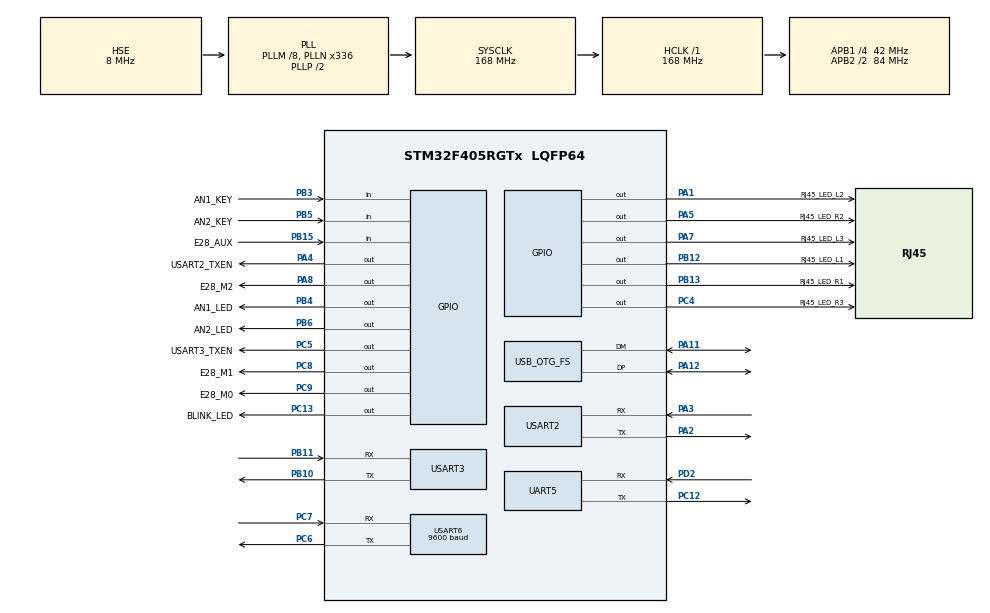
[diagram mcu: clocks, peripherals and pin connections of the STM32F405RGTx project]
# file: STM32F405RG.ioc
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Dma.Request0=UART5_RX
Dma.Request1=UART5_TX
Dma.Request2=USART6_RX
Dma.Request3=USART6_TX
Dma.Request4=USART2_RX
Dma.Request5=USART2_TX
Dma.Request6=USART3_RX
Dma.Request7=USART3_TX
Dma.UART5_RX.0.Direction=DMA_PERIPH_TO_MEMORY
Dma.UART5_RX.0.FIFOMode=DMA_FIFOMODE_DISABLE
Dma.UART5_RX.0.Instance=DMA1_Stream0
Dma.UART5_RX.0.MemDataAlignment=DMA_MDATAALIGN_BYTE
Dma.UART5_RX.0.MemInc=DMA_MINC_ENABLE
Dma.UART5_RX.0.Mode=DMA_CIRCULAR
Dma.UART5_RX.0.PeriphDataAlignment=DMA_PDATAALIGN_BYTE
Dma.UART5_RX.0.PeriphInc=DMA_PINC_DISABLE
Dma.UART5_RX.0.Priority=DMA_PRIORITY_LOW
Dma.UART5_TX.1.Direction=DMA_MEMORY_TO_PERIPH
Dma.UART5_TX.1.FIFOMode=DMA_FIFOMODE_DISABLE
Dma.UART5_TX.1.Instance=DMA1_Stream7
Dma.UART5_TX.1.MemDataAlignment=DMA_MDATAALIGN_BYTE
Dma.UART5_TX.1.MemInc=DMA_MINC_ENABLE
Dma.UART5_TX.1.Mode=DMA_NORMAL
Dma.UART5_TX.1.PeriphDataAlignment=DMA_PDATAALIGN_BYTE
Dma.UART5_TX.1.PeriphInc=DMA_PINC_DISABLE
Dma.UART5_TX.1.Priority=DMA_PRIORITY_LOW
Dma.USART2_RX.4.Direction=DMA_PERIPH_TO_MEMORY
Dma.USART2_RX.4.FIFOMode=DMA_FIFOMODE_DISABLE
Dma.USART2_RX.4.Instance=DMA1_Stream5
Dma.USART2_RX.4.MemDataAlignment=DMA_MDATAALIGN_BYTE
Dma.USART2_RX.4.MemInc=DMA_MINC_ENABLE
Dma.USART2_RX.4.Mode=DMA_CIRCULAR
Dma.USART2_RX.4.PeriphDataAlignment=DMA_PDATAALIGN_BYTE
Dma.USART2_RX.4.PeriphInc=DMA_PINC_DISABLE
Dma.USART2_RX.4.Priority=DMA_PRIORITY_LOW
Dma.USART2_TX.5.Direction=DMA_MEMORY_TO_PERIPH
Dma.USART2_TX.5.FIFOMode=DMA_FIFOMODE_DISABLE
Dma.USART2_TX.5.Instance=DMA1_Stream6
Dma.USART2_TX.5.MemDataAlignment=DMA_MDATAALIGN_BYTE
Dma.USART2_TX.5.MemInc=DMA_MINC_ENABLE
Dma.USART2_TX.5.Mode=DMA_NORMAL
Dma.USART2_TX.5.PeriphDataAlignment=DMA_PDATAALIGN_BYTE
Dma.USART2_TX.5.PeriphInc=DMA_PINC_DISABLE
Dma.USART2_TX.5.Priority=DMA_PRIORITY_LOW
Dma.USART3_RX.6.Direction=DMA_PERIPH_TO_MEMORY
Dma.USART3_RX.6.FIFOMode=DMA_FIFOMODE_DISABLE
Dma.USART3_RX.6.Instance=DMA1_Stream1
Dma.USART3_RX.6.MemDataAlignment=DMA_MDATAALIGN_BYTE
Dma.USART3_RX.6.MemInc=DMA_MINC_ENABLE
Dma.USART3_RX.6.Mode=DMA_CIRCULAR
Dma.USART3_RX.6.PeriphDataAlignment=DMA_PDATAALIGN_BYTE
Dma.USART3_RX.6.PeriphInc=DMA_PINC_DISABLE
Dma.USART3_RX.6.Priority=DMA_PRIORITY_LOW
Dma.USART3_TX.7.Direction=DMA_MEMORY_TO_PERIPH
Dma.USART3_TX.7.FIFOMode=DMA_FIFOMODE_DISABLE
Dma.USART3_TX.7.Instance=DMA1_Stream3
Dma.USART3_TX.7.MemDataAlignment=DMA_MDATAALIGN_BYTE
Dma.USART3_TX.7.MemInc=DMA_MINC_ENABLE
Dma.USART3_TX.7.Mode=DMA_NORMAL
Dma.USART3_TX.7.PeriphDataAlignment=DMA_PDATAALIGN_BYTE
Dma.USART3_TX.7.PeriphInc=DMA_PINC_DISABLE
Dma.USART3_TX.7.Priority=DMA_PRIORITY_LOW
Dma.USART6_RX.2.Direction=DMA_PERIPH_TO_MEMORY
Dma.USART6_RX.2.FIFOMode=DMA_FIFOMODE_DISABLE
Dma.USART6_RX.2.Instance=DMA2_Stream1
Dma.USART6_RX.2.MemDataAlignment=DMA_MDATAALIGN_BYTE
Dma.USART6_RX.2.MemInc=DMA_MINC_ENABLE
Dma.USART6_RX.2.Mode=DMA_CIRCULAR
Dma.USART6_RX.2.PeriphDataAlignment=DMA_PDATAALIGN_BYTE
Dma.USART6_RX.2.PeriphInc=DMA_PINC_DISABLE
Dma.USART6_RX.2.Priority=DMA_PRIORITY_LOW
Dma.USART6_TX.3.Direction=DMA_MEMORY_TO_PERIPH
Dma.USART6_TX.3.FIFOMode=DMA_FIFOMODE_DISABLE
Dma.USART6_TX.3.Instance=DMA2_Stream6
Dma.USART6_TX.3.MemDataAlignment=DMA_MDATAALIGN_BYTE
Dma.USART6_TX.3.MemInc=DMA_MINC_ENABLE
Dma.USART6_TX.3.Mode=DMA_NORMAL
Dma.USART6_TX.3.PeriphDataAlignment=DMA_PDATAALIGN_BYTE
Dma.USART6_TX.3.PeriphInc=DMA_PINC_DISABLE
Dma.USART6_TX.3.Priority=DMA_PRIORITY_LOW
FREERTOS.INCLUDE_vTaskDelayUntil=1
FREERTOS.Tasks01=startTask,0,1024,StartTask,As weak,NULL,Dynamic,NULL,NULL
FREERTOS.configCHECK_FOR_STACK_OVERFLOW=2
FREERTOS.configENABLE_FPU=1
FREERTOS.configMINIMAL_STACK_SIZE=128
FREERTOS.configTOTAL_HEAP_SIZE=32768
FREERTOS.configUSE_MALLOC_FAILED_HOOK=1
FREERTOS.configUSE_TIMERS=1
Mcu.Family=STM32F4
Mcu.Name=STM32F405RGTx
Mcu.Package=LQFP64
NVIC.DMA1_Stream0_IRQn=true\:5\:0\:false\:false\:true\:true\:false\:true\:true
NVIC.DMA1_Stream1_IRQn=true\:5\:0\:false\:false\:true\:true\:false\:true\:true
NVIC.DMA1_Stream3_IRQn=true\:5\:0\:false\:false\:true\:true\:false\:true\:true
NVIC.DMA1_Stream5_IRQn=true\:5\:0\:false\:false\:true\:true\:false\:true\:true
NVIC.DMA1_Stream6_IRQn=true\:5\:0\:false\:false\:true\:true\:false\:true\:true
NVIC.DMA1_Stream7_IRQn=true\:5\:0\:false\:false\:true\:true\:false\:true\:true
NVIC.DMA2_Stream1_IRQn=true\:5\:0\:false\:false\:true\:true\:false\:true\:true
NVIC.DMA2_Stream6_IRQn=true\:5\:0\:false\:false\:true\:true\:false\:true\:true
NVIC.HASH_RNG_IRQn=true\:5\:0\:false\:false\:true\:true\:true\:true\:true
NVIC.OTG_FS_IRQn=true\:5\:0\:false\:false\:true\:true\:false\:true\:true
NVIC.PriorityGroup=NVIC_PRIORITYGROUP_4
NVIC.TIM7_IRQn=true\:15\:0\:false\:false\:true\:false\:false\:true\:true
NVIC.TimeBase=TIM7_IRQn
NVIC.TimeBaseIP=TIM7
NVIC.UART5_IRQn=true\:5\:0\:false\:false\:true\:true\:true\:true\:true
NVIC.USART2_IRQn=true\:5\:0\:false\:false\:true\:true\:true\:true\:true
NVIC.USART3_IRQn=true\:5\:0\:false\:false\:true\:true\:true\:true\:true
NVIC.USART6_IRQn=true\:5\:0\:false\:false\:true\:true\:true\:true\:true
PA1.GPIO_Label=RJ45_LED_L2
PA1.Signal=GPIO_Output
PA11.Mode=Device_Only
PA11.Signal=USB_OTG_FS_DM
PA12.Mode=Device_Only
PA12.Signal=USB_OTG_FS_DP
PA13.Mode=Serial_Wire
PA13.Signal=SYS_JTMS-SWDIO
PA14.Mode=Serial_Wire
PA14.Signal=SYS_JTCK-SWCLK
PA2.Mode=Asynchronous
PA2.Signal=USART2_TX
PA3.Mode=Asynchronous
PA3.Signal=USART2_RX
PA4.GPIO_Label=USART2_TXEN
PA4.Signal=GPIO_Output
PA5.GPIO_Label=RJ45_LED_R2
PA5.Signal=GPIO_Output
PA7.GPIO_Label=RJ45_LED_L3
PA7.Signal=GPIO_Output
PA8.GPIO_Label=E28_M2
PA8.GPIO_PuPd=GPIO_PULLUP
PA8.Signal=GPIO_Output
PB10.Mode=Asynchronous
PB10.Signal=USART3_TX
PB11.Mode=Asynchronous
PB11.Signal=USART3_RX
PB12.GPIO_Label=RJ45_LED_L1
PB12.Signal=GPIO_Output
PB13.GPIO_Label=RJ45_LED_R1
PB13.Signal=GPIO_Output
PB15.GPIO_Label=E28_AUX
PB15.Signal=GPIO_Input
PB3.GPIO_Label=AN1_KEY
PB3.Signal=GPIO_Input
PB4.GPIO_Label=AN1_LED
PB4.Signal=GPIO_Output
PB5.GPIO_Label=AN2_KEY
PB5.Signal=GPIO_Input
PB6.GPIO_Label=AN2_LED
PB6.Signal=GPIO_Output
PC12.Mode=Asynchronous
PC12.Signal=UART5_TX
PC13-ANTI_TAMP.GPIO_Label=BLINK_LED
PC13-ANTI_TAMP.Signal=GPIO_Output
PC4.GPIO_Label=RJ45_LED_R3
PC4.Signal=GPIO_Output
PC5.GPIO_Label=USART3_TXEN
PC5.Signal=GPIO_Output
PC6.Mode=Asynchronous
PC6.Signal=USART6_TX
PC7.Mode=Asynchronous
PC7.Signal=USART6_RX
PC8.GPIO_Label=E28_M1
PC8.GPIO_PuPd=GPIO_PULLUP
PC8.Signal=GPIO_Output
PC9.GPIO_Label=E28_M0
PC9.GPIO_PuPd=GPIO_PULLUP
PC9.Signal=GPIO_Output
PD2.Mode=Asynchronous
PD2.Signal=UART5_RX
PH0-OSC_IN.Mode=HSE-External-Oscillator
PH0-OSC_IN.Signal=RCC_OSC_IN
PH1-OSC_OUT.Mode=HSE-External-Oscillator
PH1-OSC_OUT.Signal=RCC_OSC_OUT
ProjectManager.HeapSize=0x800
ProjectManager.StackSize=0x800
ProjectManager.TargetToolchain=MDK-ARM V5.32
RCC.48MHZClocksFreq_Value=48000000
RCC.AHBFreq_Value=168000000
RCC.APB1CLKDivider=RCC_HCLK_DIV4
RCC.APB1Freq_Value=42000000
RCC.APB1TimFreq_Value=84000000
RCC.APB2CLKDivider=RCC_HCLK_DIV2
RCC.APB2Freq_Value=84000000
RCC.APB2TimFreq_Value=168000000
RCC.CortexFreq_Value=168000000
RCC.HCLKFreq_Value=168000000
RCC.HSE_VALUE=8000000
RCC.HSI_VALUE=16000000
RCC.LSE_VALUE=32768
RCC.PLLM=8
RCC.PLLN=336
RCC.PLLQ=7
RCC.SYSCLKFreq_VALUE=168000000
RCC.SYSCLKSource=RCC_SYSCLKSOURCE_PLLCLK
RCC.VCOOutputFreq_Value=336000000
UART5.VirtualMode=Asynchronous
USART2.VirtualMode=VM_ASYNC
USART3.VirtualMode=VM_ASYNC
USART6.BaudRate=9600
USART6.VirtualMode=VM_ASYNC
USB_DEVICE.CLASS_NAME_FS=CDC
USB_DEVICE.VirtualMode-CDC_FS=Cdc
USB_DEVICE.VirtualModeFS=Cdc_FS
USB_OTG_FS.VirtualMode=Device_Only
VP_FREERTOS_VS_CMSIS_V1.Mode=CMSIS_V1
VP_RNG_VS_RNG.Mode=RNG_Activate
VP_SYS_VS_tim7.Mode=TIM7
VP_USB_DEVICE_VS_USB_DEVICE_CDC_FS.Mode=CDC_FS
board=custom

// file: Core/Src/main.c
/* USER CODE BEGIN Header */
/**
  ******************************************************************************
  * @file           : main.c
  * @brief          : Main program body
  ******************************************************************************
  * @attention
  *
  * Copyright (c) 2023 STMicroelectronics.
  * All rights reserved.
  *
  * This software is licensed under terms that can be found in the LICENSE file
  * in the root directory of this software component.
  * If no LICENSE file comes with this software, it is provided AS-IS.
  *
  ******************************************************************************
  */
/* USER CODE END Header */
#include "main.h"
#include "cmsis_os.h"
#include "dma.h"
#include "rng.h"
#include "usart.h"
#include "usb_device.h"
#include "gpio.h"

/* USER CODE BEGIN Includes */
#include "SEGGER_SYSVIEW.h"
#include "SEGGER_RTT.h"
#include "init.h"

/* USER CODE END Includes */

void SystemClock_Config(void);
void MX_FREERTOS_Init(void);

int main(void)
{
  /* USER CODE BEGIN 1 */
	__enable_irq();
  /* USER CODE END 1 */

  /* MCU Configuration--------------------------------------------------------*/

  /* Reset of all peripherals, Initializes the Flash interface and the Systick. */
  HAL_Init();

  /* Configure the system clock */
  SystemClock_Config();

  /* Initialize all configured peripherals */
  MX_GPIO_Init();
  MX_DMA_Init();
  MX_UART5_Init();
  MX_USART6_UART_Init();
  MX_USART2_UART_Init();
  MX_USART3_UART_Init();
  MX_RNG_Init();
  /* USER CODE BEGIN 2 */
//	SEGGER_RTT_printf(0,"RTT printf test! \r\n");
	printf(RTT_CTRL_BG_BRIGHT_GREEN RTT_CTRL_TEXT_BRIGHT_RED"app is running!\r\n");
	printf(RTT_CTRL_RESET);
	printf("app is running!\r\n");

//  HAL_GPIO_WritePin(E28_M0_GPIO_Port, E28_M0_Pin, GPIO_PIN_RESET);
//  HAL_GPIO_WritePin(E28_M1_GPIO_Port, E28_M1_Pin, GPIO_PIN_RESET);
//  HAL_GPIO_WritePin(E28_M2_GPIO_Port, E28_M2_Pin, GPIO_PIN_SET);
  /* USER CODE END 2 */

  /* Call init function for freertos objects (in freertos.c) */
  MX_FREERTOS_Init();

  /* Start scheduler */
  osKernelStart();
  /* We should never get here as control is now taken by the scheduler */
  /* Infinite loop */
  while (1)
  {

  }
}

void SystemClock_Config(void)
{
  RCC_OscInitTypeDef RCC_OscInitStruct = {0};
  RCC_ClkInitTypeDef RCC_ClkInitStruct = {0};

  /** Configure the main internal regulator output voltage
  */
  __HAL_RCC_PWR_CLK_ENABLE();
  __HAL_PWR_VOLTAGESCALING_CONFIG(PWR_REGULATOR_VOLTAGE_SCALE1);

  /** Initializes the RCC Oscillators according to the specified parameters
  * in the RCC_OscInitTypeDef structure.
  */
  RCC_OscInitStruct.OscillatorType = RCC_OSCILLATORTYPE_HSE;
  RCC_OscInitStruct.HSEState = RCC_HSE_ON;
  RCC_OscInitStruct.PLL.PLLState = RCC_PLL_ON;
  RCC_OscInitStruct.PLL.PLLSource = RCC_PLLSOURCE_HSE;
  RCC_OscInitStruct.PLL.PLLM = 8;
  RCC_OscInitStruct.PLL.PLLN = 336;
  RCC_OscInitStruct.PLL.PLLP = RCC_PLLP_DIV2;
  RCC_OscInitStruct.PLL.PLLQ = 7;
  if (HAL_RCC_OscConfig(&RCC_OscInitStruct) != HAL_OK)
  {
    Error_Handler();
  }

  /** Initializes the CPU, AHB and APB buses clocks
  */
  RCC_ClkInitStruct.ClockType = RCC_CLOCKTYPE_HCLK|RCC_CLOCKTYPE_SYSCLK
                              |RCC_CLOCKTYPE_PCLK1|RCC_CLOCKTYPE_PCLK2;
  RCC_ClkInitStruct.SYSCLKSource = RCC_SYSCLKSOURCE_PLLCLK;
  RCC_ClkInitStruct.AHBCLKDivider = RCC_SYSCLK_DIV1;
  RCC_ClkInitStruct.APB1CLKDivider = RCC_HCLK_DIV4;
  RCC_ClkInitStruct.APB2CLKDivider = RCC_HCLK_DIV2;

  if (HAL_RCC_ClockConfig(&RCC_ClkInitStruct, FLASH_LATENCY_5) != HAL_OK)
  {
    Error_Handler();
  }
}

void HAL_TIM_PeriodElapsedCallback(TIM_HandleTypeDef *htim)
{
  if (htim->Instance == TIM7) {
    HAL_IncTick();
  }
}

void Error_Handler(void)
{
  __disable_irq();
  while (1)
  {
  }
}

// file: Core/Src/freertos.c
/* USER CODE BEGIN Header */
/**
  ******************************************************************************
  * File Name          : freertos.c
  * Description        : Code for freertos applications
  ******************************************************************************
  * @attention
  *
  * Copyright (c) 2023 STMicroelectronics.
  * All rights reserved.
  *
  * This software is licensed under terms that can be found in the LICENSE file
  * in the root directory of this software component.
  * If no LICENSE file comes with this software, it is provided AS-IS.
  *
  ******************************************************************************
  */
/* USER CODE END Header */

#include "FreeRTOS.h"
#include "task.h"
#include "main.h"
#include "cmsis_os.h"

/* USER CODE BEGIN Includes */
#include "radio_task.h"
#include "modbus1_task.h"
#include "modbus2_task.h"
#include "io_task.h"
#include "fsm_task.h"

#include "init.h"
#include "drv_uart.h"

#define LOG_TAG "freertos"
#define LOG_OUTPUT_LEVEL  LOG_INFO
#include "log.h"

/* USER CODE END Includes */

/* USER CODE BEGIN Variables */
osThreadId radioTaskHandle;
osThreadId modbus1TaskHandle;
osThreadId modbus2TaskHandle;
osThreadId ioTaskHandle;
osThreadId fsmTaskHandle;
/* USER CODE END Variables */
osThreadId startTaskHandle;

void StartTask(void const * argument);

extern void MX_USB_DEVICE_Init(void);
void MX_FREERTOS_Init(void); /* (MISRA C 2004 rule 8.1) */

/* GetIdleTaskMemory prototype (linked to static allocation support) */
void vApplicationGetIdleTaskMemory( StaticTask_t **ppxIdleTaskTCBBuffer, StackType_t **ppxIdleTaskStackBuffer, uint32_t *pulIdleTaskStackSize );

/* GetTimerTaskMemory prototype (linked to static allocation support) */
void vApplicationGetTimerTaskMemory( StaticTask_t **ppxTimerTaskTCBBuffer, StackType_t **ppxTimerTaskStackBuffer, uint32_t *pulTimerTaskStackSize );

/* Hook prototypes */
void vApplicationStackOverflowHook(xTaskHandle xTask, signed char *pcTaskName);
void vApplicationMallocFailedHook(void);

/* USER CODE BEGIN 4 */
__weak void vApplicationStackOverflowHook(xTaskHandle xTask, signed char *pcTaskName)
{
   /* Run time stack overflow checking is performed if
   configCHECK_FOR_STACK_OVERFLOW is defined to 1 or 2. This hook function is
   called if a stack overflow is detected. */
}
/* USER CODE END 4 */

/* USER CODE BEGIN 5 */
__weak void vApplicationMallocFailedHook(void)
{
   /* vApplicationMallocFailedHook() will only be called if
   configUSE_MALLOC_FAILED_HOOK is set to 1 in FreeRTOSConfig.h. It is a hook
   function that will get called if a call to pvPortMalloc() fails.
   pvPortMalloc() is called internally by the kernel whenever a task, queue,
   timer or semaphore is created. It is also called by various parts of the
   demo application. If heap_1.c or heap_2.c are used, then the size of the
   heap available to pvPortMalloc() is defined by configTOTAL_HEAP_SIZE in
   FreeRTOSConfig.h, and the xPortGetFreeHeapSize() API function can be used
   to query the size of free heap space that remains (although it does not
   provide information on how the remaining heap might be fragmented). */
}
/* USER CODE END 5 */

/* USER CODE BEGIN GET_IDLE_TASK_MEMORY */
static StaticTask_t xIdleTaskTCBBuffer;
static StackType_t xIdleStack[configMINIMAL_STACK_SIZE];

void vApplicationGetIdleTaskMemory( StaticTask_t **ppxIdleTaskTCBBuffer, StackType_t **ppxIdleTaskStackBuffer, uint32_t *pulIdleTaskStackSize )
{
  *ppxIdleTaskTCBBuffer = &xIdleTaskTCBBuffer;
  *ppxIdleTaskStackBuffer = &xIdleStack[0];
  *pulIdleTaskStackSize = configMINIMAL_STACK_SIZE;
  /* place for user code */
}
/* USER CODE END GET_IDLE_TASK_MEMORY */

/* USER CODE BEGIN GET_TIMER_TASK_MEMORY */
static StaticTask_t xTimerTaskTCBBuffer;
static StackType_t xTimerStack[configTIMER_TASK_STACK_DEPTH];

void vApplicationGetTimerTaskMemory( StaticTask_t **ppxTimerTaskTCBBuffer, StackType_t **ppxTimerTaskStackBuffer, uint32_t *pulTimerTaskStackSize )
{
  *ppxTimerTaskTCBBuffer = &xTimerTaskTCBBuffer;
  *ppxTimerTaskStackBuffer = &xTimerStack[0];
  *pulTimerTaskStackSize = configTIMER_TASK_STACK_DEPTH;
  /* place for user code */
}
/* USER CODE END GET_TIMER_TASK_MEMORY */

void MX_FREERTOS_Init(void) {

  /* Create the thread(s) */
  /* definition and creation of startTask */
  osThreadDef(startTask, StartTask, osPriorityNormal, 0, 1024);
  startTaskHandle = osThreadCreate(osThread(startTask), NULL);

}

__weak void StartTask(void const * argument)
{
  /* init code for USB_DEVICE */
  MX_USB_DEVICE_Init();
  /* USER CODE BEGIN StartTask */
  uint32_t period = osKernelSysTick();
  SEGGER_SYSVIEW_Conf();

	board_config();

  osThreadDef(radioTask, Radio_Task, osPriorityAboveNormal, 0, 1024);
  radioTaskHandle = osThreadCreate(osThread(radioTask), NULL);

  osThreadDef(modbus1_Task, Modbus1_Task, osPriorityAboveNormal, 0, 1024);
  modbus1TaskHandle = osThreadCreate(osThread(modbus1_Task), NULL);

  osThreadDef(modbus2_Task, Modbus2_Task, osPriorityAboveNormal, 0, 1024);
  modbus2TaskHandle = osThreadCreate(osThread(modbus2_Task), NULL);

  osThreadDef(ioTask, IO_Task, osPriorityAboveNormal, 0, 512);
  ioTaskHandle = osThreadCreate(osThread(ioTask), NULL);

  osThreadDef(fsmTask, Fsm_Task, osPriorityAboveNormal, 0, 512);
  fsmTaskHandle = osThreadCreate(osThread(fsmTask), NULL);

  /* Infinite loop */
  for(;;)
  {
//			HAL_GPIO_TogglePin(BLINK_LED_GPIO_Port,BLINK_LED_Pin);
			osDelayUntil(&period, 500);
  }
  /* USER CODE END StartTask */
}
